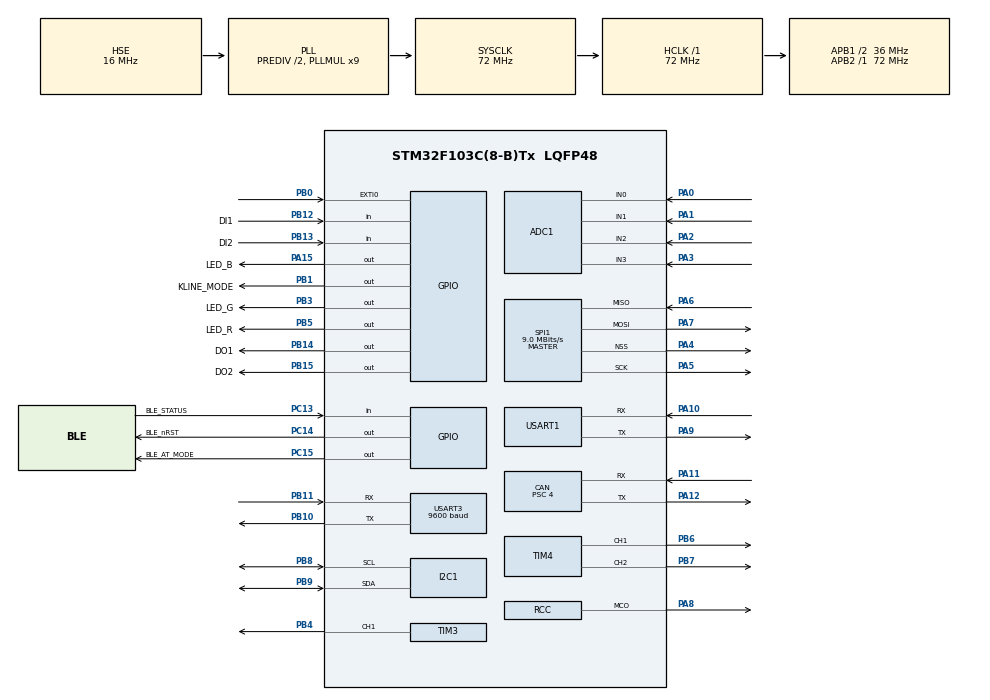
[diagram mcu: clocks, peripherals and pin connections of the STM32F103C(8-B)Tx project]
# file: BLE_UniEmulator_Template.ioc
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ADC1.Channel-0\#ChannelRegularConversion=ADC_CHANNEL_0
ADC1.NbrOfConversionFlag=1
ADC1.Rank-0\#ChannelRegularConversion=1
ADC1.SamplingTime-0\#ChannelRegularConversion=ADC_SAMPLETIME_1CYCLE_5
ADC1.master=1
CAN.BS1=CAN_BS1_15TQ
CAN.BS2=CAN_BS2_2TQ
CAN.CalculateBaudRate=500000
CAN.CalculateTimeBit=2000
CAN.CalculateTimeQuantum=111.11111111111111
CAN.NART=ENABLE
CAN.Prescaler=4
Dma.Request0=USART1_RX
Dma.Request1=USART3_RX
Dma.USART1_RX.0.Direction=DMA_PERIPH_TO_MEMORY
Dma.USART1_RX.0.Instance=DMA1_Channel5
Dma.USART1_RX.0.MemDataAlignment=DMA_MDATAALIGN_BYTE
Dma.USART1_RX.0.MemInc=DMA_MINC_ENABLE
Dma.USART1_RX.0.Mode=DMA_CIRCULAR
Dma.USART1_RX.0.PeriphDataAlignment=DMA_PDATAALIGN_BYTE
Dma.USART1_RX.0.PeriphInc=DMA_PINC_DISABLE
Dma.USART1_RX.0.Priority=DMA_PRIORITY_LOW
Dma.USART3_RX.1.Direction=DMA_PERIPH_TO_MEMORY
Dma.USART3_RX.1.Instance=DMA1_Channel3
Dma.USART3_RX.1.MemDataAlignment=DMA_MDATAALIGN_BYTE
Dma.USART3_RX.1.MemInc=DMA_MINC_ENABLE
Dma.USART3_RX.1.Mode=DMA_NORMAL
Dma.USART3_RX.1.PeriphDataAlignment=DMA_PDATAALIGN_BYTE
Dma.USART3_RX.1.PeriphInc=DMA_PINC_DISABLE
Dma.USART3_RX.1.Priority=DMA_PRIORITY_LOW
Mcu.Family=STM32F1
Mcu.Name=STM32F103C(8-B)Tx
Mcu.Package=LQFP48
NVIC.DMA1_Channel3_IRQn=true\:0\:0\:false\:false\:true\:false\:true\:true
NVIC.DMA1_Channel5_IRQn=true\:0\:0\:false\:false\:true\:false\:true\:true
NVIC.PriorityGroup=NVIC_PRIORITYGROUP_4
NVIC.USART1_IRQn=true\:0\:0\:false\:false\:true\:true\:true\:true
NVIC.USART3_IRQn=true\:0\:0\:false\:false\:true\:true\:true\:true
NVIC.USB_LP_CAN1_RX0_IRQn=true\:0\:0\:false\:false\:true\:true\:true\:true
PA0-WKUP.Signal=ADCx_IN0
PA1.Signal=ADCx_IN1
PA10.Mode=Asynchronous
PA10.Signal=USART1_RX
PA11.Mode=CAN_Activate
PA11.Signal=CAN_RX
PA12.Mode=CAN_Activate
PA12.Signal=CAN_TX
PA13.Mode=Serial_Wire
PA13.Signal=SYS_JTMS-SWDIO
PA14.Mode=Serial_Wire
PA14.Signal=SYS_JTCK-SWCLK
PA15.GPIO_Label=LED_B
PA15.Signal=GPIO_Output
PA2.Signal=ADCx_IN2
PA3.Signal=ADCx_IN3
PA4.Mode=NSS_Signal_Hard_Output
PA4.Signal=SPI1_NSS
PA5.Mode=Full_Duplex_Master
PA5.Signal=SPI1_SCK
PA6.Mode=Full_Duplex_Master
PA6.Signal=SPI1_MISO
PA7.Mode=Full_Duplex_Master
PA7.Signal=SPI1_MOSI
PA8.Mode=Clock-out
PA8.Signal=RCC_MCO
PA9.Mode=Asynchronous
PA9.Signal=USART1_TX
PB0.Signal=GPXTI0
PB1.GPIO_Label=KLINE_MODE
PB1.Signal=GPIO_Output
PB10.Mode=Asynchronous
PB10.Signal=USART3_TX
PB11.Mode=Asynchronous
PB11.Signal=USART3_RX
PB12.GPIO_Label=DI1
PB12.Signal=GPIO_Input
PB13.GPIO_Label=DI2
PB13.Signal=GPIO_Input
PB14.GPIO_Label=DO1
PB14.Signal=GPIO_Output
PB15.GPIO_Label=DO2
PB15.Signal=GPIO_Output
PB3.GPIO_Label=LED_G
PB3.Signal=GPIO_Output
PB4.Signal=S_TIM3_CH1
PB5.GPIO_Label=LED_R
PB5.Signal=GPIO_Output
PB6.Signal=S_TIM4_CH1
PB7.Signal=S_TIM4_CH2
PB8.Mode=I2C
PB8.Signal=I2C1_SCL
PB9.Mode=I2C
PB9.Signal=I2C1_SDA
PC13-TAMPER-RTC.GPIO_Label=BLE_STATUS
PC13-TAMPER-RTC.Signal=GPIO_Input
PC14-OSC32_IN.GPIO_Label=BLE_nRST
PC14-OSC32_IN.Signal=GPIO_Output
PC15-OSC32_OUT.GPIO_Label=BLE_AT_MODE
PC15-OSC32_OUT.Signal=GPIO_Output
PD0-OSC_IN.Mode=HSE-External-Oscillator
PD0-OSC_IN.Signal=RCC_OSC_IN
PD1-OSC_OUT.Mode=HSE-External-Oscillator
PD1-OSC_OUT.Signal=RCC_OSC_OUT
ProjectManager.HeapSize=0x200
ProjectManager.StackSize=0x400
ProjectManager.TargetToolchain=MDK-ARM V5.32
RCC.ADCPresc=RCC_ADCPCLK2_DIV6
RCC.AHBFreq_Value=72000000
RCC.APB1CLKDivider=RCC_HCLK_DIV2
RCC.APB1Freq_Value=36000000
RCC.APB1TimFreq_Value=72000000
RCC.APB2Freq_Value=72000000
RCC.APB2TimFreq_Value=72000000
RCC.HCLKFreq_Value=72000000
RCC.HSEDivPLL=RCC_HSE_PREDIV_DIV2
RCC.HSE_VALUE=16000000
RCC.PLLMUL=RCC_PLL_MUL9
RCC.PLLSourceVirtual=RCC_PLLSOURCE_HSE
RCC.RCC_MCOSource=RCC_MCO1SOURCE_HSE
RCC.SYSCLKFreq_VALUE=72000000
RCC.SYSCLKSource=RCC_SYSCLKSOURCE_PLLCLK
RCC.USBFreq_Value=72000000
SH.ADCx_IN0.0=ADC1_IN0,IN0
SH.ADCx_IN1.0=ADC1_IN1,IN1
SH.ADCx_IN2.0=ADC1_IN2,IN2
SH.ADCx_IN3.0=ADC1_IN3,IN3
SH.S_TIM3_CH1.0=TIM3_CH1,PWM Generation1 CH1
SH.S_TIM4_CH1.0=TIM4_CH1,PWM Generation1 CH1
SH.S_TIM4_CH2.0=TIM4_CH2,PWM Generation2 CH2
SPI1.BaudRatePrescaler=SPI_BAUDRATEPRESCALER_8
SPI1.CalculateBaudRate=9.0 MBits/s
SPI1.Direction=SPI_DIRECTION_2LINES
SPI1.Mode=SPI_MODE_MASTER
SPI1.VirtualNSS=VM_NSSHARD
SPI1.VirtualType=VM_MASTER
TIM3.Channel-PWM\ Generation1\ CH1=TIM_CHANNEL_1
TIM3.Period=500
TIM3.Prescaler=71
TIM4.Channel-PWM\ Generation1\ CH1=TIM_CHANNEL_1
TIM4.Channel-PWM\ Generation2\ CH2=TIM_CHANNEL_2
USART1.VirtualMode=VM_ASYNC
USART3.BaudRate=9600
USART3.VirtualMode=VM_ASYNC
VP_CRC_VS_CRC.Mode=CRC_Activate
VP_TIM3_VS_ClockSourceINT.Mode=Internal
VP_TIM4_VS_ClockSourceINT.Mode=Internal
board=custom

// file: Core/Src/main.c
/* USER CODE BEGIN Header */
/**
 ******************************************************************************
 * @file           : main.c
 * @brief          : Main program body
 ******************************************************************************
 * @attention
 *
 * Copyright (c) 2023 STMicroelectronics.
 * All rights reserved.
 *
 * This software is licensed under terms that can be found in the LICENSE file
 * in the root directory of this software component.
 * If no LICENSE file comes with this software, it is provided AS-IS.
 *
 ******************************************************************************
 */
/* USER CODE END Header */
#include "main.h"

/* USER CODE BEGIN Includes */
#include "EEPROM.h"
#include "License.h"
#include "SerialFIFO.h"
#include "SerialProtocol.h"
#include "SmartLED.h"
#include <string.h>
/* USER CODE END Includes */

/* USER CODE BEGIN PTD */
extern int8_t LicenseStatus;
/* USER CODE END PTD */

/* USER CODE BEGIN PM */
#define BUZZER_ON() TIM3->CCR1 = 250
#define BUZZER_OFF() TIM3->CCR1 = 0

uint8_t beepCounter = 0;
/* USER CODE END PM */

ADC_HandleTypeDef hadc1;

CAN_HandleTypeDef hcan;

CRC_HandleTypeDef hcrc;

I2C_HandleTypeDef hi2c1;

SPI_HandleTypeDef hspi1;

TIM_HandleTypeDef htim3;
TIM_HandleTypeDef htim4;

UART_HandleTypeDef huart1;
UART_HandleTypeDef huart3;
DMA_HandleTypeDef hdma_usart1_rx;
DMA_HandleTypeDef hdma_usart3_rx;

void SystemClock_Config(void);
static void MX_GPIO_Init(void);
static void MX_DMA_Init(void);
static void MX_ADC1_Init(void);
static void MX_CAN_Init(void);
static void MX_CRC_Init(void);
static void MX_I2C1_Init(void);
static void MX_SPI1_Init(void);
static void MX_TIM3_Init(void);
static void MX_TIM4_Init(void);
static void MX_USART1_UART_Init(void);
static void MX_USART3_UART_Init(void);
/* USER CODE BEGIN PFP */

void LED_Red_Callback(bool status)
{
    if (TIM3->CCR1 == 250)
    {
        BUZZER_OFF(); // Buzzer Turn off
    }
    else
    {
        if (status == true)
        {
            if (++beepCounter >= 5)
            {
                beepCounter = 0;
                BUZZER_ON(); // Buzzer Turn on
            }
        }
    }
}

void LED_Green_Callback(bool status)
{
    // Future functionality for green LED can be added here
}

void LED_Blue_Callback(bool status)
{
    // Future functionality for blue LED can be added here
}

/* USER CODE END PFP */

int main(void)
{

    /* MCU Configuration--------------------------------------------------------*/

    /* Reset of all peripherals, Initializes the Flash interface and the Systick. */
    HAL_Init();

    /* Configure the system clock */
    SystemClock_Config();

    /* Initialize all configured peripherals */
    MX_GPIO_Init();
    MX_DMA_Init();
    MX_ADC1_Init();
    MX_CAN_Init();
    MX_CRC_Init();
    MX_I2C1_Init();
    MX_SPI1_Init();
    MX_TIM3_Init();
    MX_TIM4_Init();
    MX_USART1_UART_Init();
    MX_USART3_UART_Init();
    /* USER CODE BEGIN 2 */
    HAL_TIM_PWM_Start(&htim3, TIM_CHANNEL_1);

    UART1_Init();

    if (EEPROM_Init(AT24C32) != HAL_OK)
    {
        Error_Handler(); // Handle initialization failure
    }

    SmartLED_Init(LED_R_GPIO_Port, LED_R_Pin, true, &LED_Red_Callback);
    SmartLED_Init(LED_G_GPIO_Port, LED_G_Pin, true, &LED_Green_Callback);
    SmartLED_Init(LED_B_GPIO_Port, LED_B_Pin, true, &LED_Blue_Callback);

    if (Check_License() == VALID)
    {
        UART3_Init();
        SmartLED_SetMode(LED_G, LED_MODE_BLINK_SLOW);
    }
    else
    {
        SmartLED_SetMode(LED_R, LED_MODE_BLINK_SLOW);
        beepCounter = 5;
    }

    HAL_GPIO_WritePin(BLE_nRST_GPIO_Port, BLE_nRST_Pin, GPIO_PIN_SET);
    // Set high level to wake up the Module
    HAL_GPIO_WritePin(BLE_AT_MODE_GPIO_Port, BLE_AT_MODE_Pin, GPIO_PIN_SET);

    uint32_t startTime = HAL_GetTick(); // Get the start time

    // Wait for connection or timeout
    while (HAL_GPIO_ReadPin(BLE_STATUS_GPIO_Port, BLE_STATUS_Pin) == GPIO_PIN_RESET)
    {
        if ((HAL_GetTick() - startTime) > 20000)
        {
            // Timeout occurred, reset the BLE module
            HAL_GPIO_WritePin(BLE_nRST_GPIO_Port, BLE_nRST_Pin, GPIO_PIN_RESET);
            HAL_Delay(10);
            HAL_GPIO_WritePin(BLE_nRST_GPIO_Port, BLE_nRST_Pin, GPIO_PIN_SET);

            // Reset the start time and continue to wait for connection
            startTime = HAL_GetTick();
        }
    }

    // Set low level to enable AT command (just when BLE connected)
    HAL_GPIO_WritePin(BLE_AT_MODE_GPIO_Port, BLE_AT_MODE_Pin, GPIO_PIN_RESET);

    HAL_Delay(20);

    UART1_WriteStr("AT+NAMESmart Emulator\r\n"); // Set Bluetooth device name
    HAL_Delay(100);

    UART1_WriteStr("AT+STARTEN1\r\n"); // 1 = Start Wake up
    HAL_Delay(50);

    UART1_WriteStr("AT+ADVIN0\r\n"); // 0 = 100ms
    HAL_Delay(50);

    UART1_WriteStr("AT+MTU2\r\n"); // 2 = 128 bytes

    HAL_GPIO_WritePin(BLE_nRST_GPIO_Port, BLE_nRST_Pin, GPIO_PIN_SET);
    // Set high level to wake up the Module
    HAL_GPIO_WritePin(BLE_AT_MODE_GPIO_Port, BLE_AT_MODE_Pin, GPIO_PIN_SET);

    /* USER CODE END 2 */

    /* Infinite loop */
    /* USER CODE BEGIN WHILE */
    while (1)
    {
        uint16_t len = UART1_Available();
        while (len--)
        {
            uint8_t c = UART1_Read();
            UART3_Write(c);
        }

        len = UART3_Available();
        while (len--)
        {
            uint8_t c = UART3_Read();
            UART1_Write(c);
        }

        HAL_Delay(100);
        /* USER CODE END WHILE */

    }
}

void SystemClock_Config(void)
{
    RCC_OscInitTypeDef RCC_OscInitStruct = {0};
    RCC_ClkInitTypeDef RCC_ClkInitStruct = {0};
    RCC_PeriphCLKInitTypeDef PeriphClkInit = {0};

    /** Initializes the RCC Oscillators according to the specified parameters
     * in the RCC_OscInitTypeDef structure.
     */
    RCC_OscInitStruct.OscillatorType = RCC_OSCILLATORTYPE_HSE;
    RCC_OscInitStruct.HSEState = RCC_HSE_ON;
    RCC_OscInitStruct.HSEPredivValue = RCC_HSE_PREDIV_DIV2;
    RCC_OscInitStruct.HSIState = RCC_HSI_ON;
    RCC_OscInitStruct.PLL.PLLState = RCC_PLL_ON;
    RCC_OscInitStruct.PLL.PLLSource = RCC_PLLSOURCE_HSE;
    RCC_OscInitStruct.PLL.PLLMUL = RCC_PLL_MUL9;
    if (HAL_RCC_OscConfig(&RCC_OscInitStruct) != HAL_OK)
    {
        Error_Handler();
    }

    /** Initializes the CPU, AHB and APB buses clocks
     */
    RCC_ClkInitStruct.ClockType = RCC_CLOCKTYPE_HCLK | RCC_CLOCKTYPE_SYSCLK | RCC_CLOCKTYPE_PCLK1 | RCC_CLOCKTYPE_PCLK2;
    RCC_ClkInitStruct.SYSCLKSource = RCC_SYSCLKSOURCE_PLLCLK;
    RCC_ClkInitStruct.AHBCLKDivider = RCC_SYSCLK_DIV1;
    RCC_ClkInitStruct.APB1CLKDivider = RCC_HCLK_DIV2;
    RCC_ClkInitStruct.APB2CLKDivider = RCC_HCLK_DIV1;

    if (HAL_RCC_ClockConfig(&RCC_ClkInitStruct, FLASH_LATENCY_2) != HAL_OK)
    {
        Error_Handler();
    }
    PeriphClkInit.PeriphClockSelection = RCC_PERIPHCLK_ADC;
    PeriphClkInit.AdcClockSelection = RCC_ADCPCLK2_DIV6;
    if (HAL_RCCEx_PeriphCLKConfig(&PeriphClkInit) != HAL_OK)
    {
        Error_Handler();
    }
    HAL_RCC_MCOConfig(RCC_MCO, RCC_MCO1SOURCE_HSE, RCC_MCODIV_1);
}

static void MX_ADC1_Init(void)
{

    ADC_ChannelConfTypeDef sConfig = {0};

    /** Common config
     */
    hadc1.Instance = ADC1;
    hadc1.Init.ScanConvMode = ADC_SCAN_DISABLE;
    hadc1.Init.ContinuousConvMode = DISABLE;
    hadc1.Init.DiscontinuousConvMode = DISABLE;
    hadc1.Init.ExternalTrigConv = ADC_SOFTWARE_START;
    hadc1.Init.DataAlign = ADC_DATAALIGN_RIGHT;
    hadc1.Init.NbrOfConversion = 1;
    if (HAL_ADC_Init(&hadc1) != HAL_OK)
    {
        Error_Handler();
    }

    /** Configure Regular Channel
     */
    sConfig.Channel = ADC_CHANNEL_0;
    sConfig.Rank = ADC_REGULAR_RANK_1;
    sConfig.SamplingTime = ADC_SAMPLETIME_1CYCLE_5;
    if (HAL_ADC_ConfigChannel(&hadc1, &sConfig) != HAL_OK)
    {
        Error_Handler();
    }
}

static void MX_CAN_Init(void)
{

    hcan.Instance = CAN1;
    hcan.Init.Prescaler = 4;
    hcan.Init.Mode = CAN_MODE_NORMAL;
    hcan.Init.SyncJumpWidth = CAN_SJW_1TQ;
    hcan.Init.TimeSeg1 = CAN_BS1_15TQ;
    hcan.Init.TimeSeg2 = CAN_BS2_2TQ;
    hcan.Init.TimeTriggeredMode = DISABLE;
    hcan.Init.AutoBusOff = DISABLE;
    hcan.Init.AutoWakeUp = DISABLE;
    hcan.Init.AutoRetransmission = ENABLE;
    hcan.Init.ReceiveFifoLocked = DISABLE;
    hcan.Init.TransmitFifoPriority = DISABLE;
    if (HAL_CAN_Init(&hcan) != HAL_OK)
    {
        Error_Handler();
    }
}

static void MX_CRC_Init(void)
{

    hcrc.Instance = CRC;
    if (HAL_CRC_Init(&hcrc) != HAL_OK)
    {
        Error_Handler();
    }
}

static void MX_I2C1_Init(void)
{

    hi2c1.Instance = I2C1;
    hi2c1.Init.ClockSpeed = 100000;
    hi2c1.Init.DutyCycle = I2C_DUTYCYCLE_2;
    hi2c1.Init.OwnAddress1 = 0;
    hi2c1.Init.AddressingMode = I2C_ADDRESSINGMODE_7BIT;
    hi2c1.Init.DualAddressMode = I2C_DUALADDRESS_DISABLE;
    hi2c1.Init.OwnAddress2 = 0;
    hi2c1.Init.GeneralCallMode = I2C_GENERALCALL_DISABLE;
    hi2c1.Init.NoStretchMode = I2C_NOSTRETCH_DISABLE;
    if (HAL_I2C_Init(&hi2c1) != HAL_OK)
    {
        Error_Handler();
    }
}

static void MX_SPI1_Init(void)
{

    /* SPI1 parameter configuration*/
    hspi1.Instance = SPI1;
    hspi1.Init.Mode = SPI_MODE_MASTER;
    hspi1.Init.Direction = SPI_DIRECTION_2LINES;
    hspi1.Init.DataSize = SPI_DATASIZE_8BIT;
    hspi1.Init.CLKPolarity = SPI_POLARITY_LOW;
    hspi1.Init.CLKPhase = SPI_PHASE_1EDGE;
    hspi1.Init.NSS = SPI_NSS_HARD_OUTPUT;
    hspi1.Init.BaudRatePrescaler = SPI_BAUDRATEPRESCALER_8;
    hspi1.Init.FirstBit = SPI_FIRSTBIT_MSB;
    hspi1.Init.TIMode = SPI_TIMODE_DISABLE;
    hspi1.Init.CRCCalculation = SPI_CRCCALCULATION_DISABLE;
    hspi1.Init.CRCPolynomial = 10;
    if (HAL_SPI_Init(&hspi1) != HAL_OK)
    {
        Error_Handler();
    }
}

static void MX_TIM3_Init(void)
{

    TIM_ClockConfigTypeDef sClockSourceConfig = {0};
    TIM_MasterConfigTypeDef sMasterConfig = {0};
    TIM_OC_InitTypeDef sConfigOC = {0};

    htim3.Instance = TIM3;
    htim3.Init.Prescaler = 71;
    htim3.Init.CounterMode = TIM_COUNTERMODE_UP;
    htim3.Init.Period = 500;
    htim3.Init.ClockDivision = TIM_CLOCKDIVISION_DIV1;
    htim3.Init.AutoReloadPreload = TIM_AUTORELOAD_PRELOAD_DISABLE;
    if (HAL_TIM_Base_Init(&htim3) != HAL_OK)
    {
        Error_Handler();
    }
    sClockSourceConfig.ClockSource = TIM_CLOCKSOURCE_INTERNAL;
    if (HAL_TIM_ConfigClockSource(&htim3, &sClockSourceConfig) != HAL_OK)
    {
        Error_Handler();
    }
    if (HAL_TIM_PWM_Init(&htim3) != HAL_OK)
    {
        Error_Handler();
    }
    sMasterConfig.MasterOutputTrigger = TIM_TRGO_RESET;
    sMasterConfig.MasterSlaveMode = TIM_MASTERSLAVEMODE_DISABLE;
    if (HAL_TIMEx_MasterConfigSynchronization(&htim3, &sMasterConfig) != HAL_OK)
    {
        Error_Handler();
    }
    sConfigOC.OCMode = TIM_OCMODE_PWM1;
    sConfigOC.Pulse = 0;
    sConfigOC.OCPolarity = TIM_OCPOLARITY_HIGH;
    sConfigOC.OCFastMode = TIM_OCFAST_DISABLE;
    if (HAL_TIM_PWM_ConfigChannel(&htim3, &sConfigOC, TIM_CHANNEL_1) != HAL_OK)
    {
        Error_Handler();
    }
    HAL_TIM_MspPostInit(&htim3);
}

static void MX_TIM4_Init(void)
{

    TIM_ClockConfigTypeDef sClockSourceConfig = {0};
    TIM_MasterConfigTypeDef sMasterConfig = {0};
    TIM_OC_InitTypeDef sConfigOC = {0};

    htim4.Instance = TIM4;
    htim4.Init.Prescaler = 0;
    htim4.Init.CounterMode = TIM_COUNTERMODE_UP;
    htim4.Init.Period = 65535;
    htim4.Init.ClockDivision = TIM_CLOCKDIVISION_DIV1;
    htim4.Init.AutoReloadPreload = TIM_AUTORELOAD_PRELOAD_DISABLE;
    if (HAL_TIM_Base_Init(&htim4) != HAL_OK)
    {
        Error_Handler();
    }
    sClockSourceConfig.ClockSource = TIM_CLOCKSOURCE_INTERNAL;
    if (HAL_TIM_ConfigClockSource(&htim4, &sClockSourceConfig) != HAL_OK)
    {
        Error_Handler();
    }
    if (HAL_TIM_PWM_Init(&htim4) != HAL_OK)
    {
        Error_Handler();
    }
    sMasterConfig.MasterOutputTrigger = TIM_TRGO_RESET;
    sMasterConfig.MasterSlaveMode = TIM_MASTERSLAVEMODE_DISABLE;
    if (HAL_TIMEx_MasterConfigSynchronization(&htim4, &sMasterConfig) != HAL_OK)
    {
        Error_Handler();
    }
    sConfigOC.OCMode = TIM_OCMODE_PWM1;
    sConfigOC.Pulse = 0;
    sConfigOC.OCPolarity = TIM_OCPOLARITY_HIGH;
    sConfigOC.OCFastMode = TIM_OCFAST_DISABLE;
    if (HAL_TIM_PWM_ConfigChannel(&htim4, &sConfigOC, TIM_CHANNEL_1) != HAL_OK)
    {
        Error_Handler();
    }
    if (HAL_TIM_PWM_ConfigChannel(&htim4, &sConfigOC, TIM_CHANNEL_2) != HAL_OK)
    {
        Error_Handler();
    }
    HAL_TIM_MspPostInit(&htim4);
}

static void MX_USART1_UART_Init(void)
{

    huart1.Instance = USART1;
    huart1.Init.BaudRate = 115200;
    huart1.Init.WordLength = UART_WORDLENGTH_8B;
    huart1.Init.StopBits = UART_STOPBITS_1;
    huart1.Init.Parity = UART_PARITY_NONE;
    huart1.Init.Mode = UART_MODE_TX_RX;
    huart1.Init.HwFlowCtl = UART_HWCONTROL_NONE;
    huart1.Init.OverSampling = UART_OVERSAMPLING_16;
    if (HAL_UART_Init(&huart1) != HAL_OK)
    {
        Error_Handler();
    }
    /* USER CODE BEGIN USART1_Init 2 */
    SET_BIT(USART1->CR1, USART_CR1_IDLEIE);
    /* USER CODE END USART1_Init 2 */
}

static void MX_USART3_UART_Init(void)
{

    huart3.Instance = USART3;
    huart3.Init.BaudRate = 9600;
    huart3.Init.WordLength = UART_WORDLENGTH_8B;
    huart3.Init.StopBits = UART_STOPBITS_1;
    huart3.Init.Parity = UART_PARITY_EVEN;
    huart3.Init.Mode = UART_MODE_TX_RX;
    huart3.Init.HwFlowCtl = UART_HWCONTROL_NONE;
    huart3.Init.OverSampling = UART_OVERSAMPLING_16;
    if (HAL_UART_Init(&huart3) != HAL_OK)
    {
        Error_Handler();
    }
    /* USER CODE BEGIN USART3_Init 2 */
    SET_BIT(USART3->CR1, USART_CR1_IDLEIE);
    /* USER CODE END USART3_Init 2 */
}

static void MX_DMA_Init(void)
{

    /* DMA controller clock enable */
    __HAL_RCC_DMA1_CLK_ENABLE();

    /* DMA interrupt init */
    /* DMA1_Channel3_IRQn interrupt configuration */
    HAL_NVIC_SetPriority(DMA1_Channel3_IRQn, 0, 0);
    HAL_NVIC_EnableIRQ(DMA1_Channel3_IRQn);
    /* DMA1_Channel5_IRQn interrupt configuration */
    HAL_NVIC_SetPriority(DMA1_Channel5_IRQn, 0, 0);
    HAL_NVIC_EnableIRQ(DMA1_Channel5_IRQn);
}

static void MX_GPIO_Init(void)
{
    GPIO_InitTypeDef GPIO_InitStruct = {0};

    /* GPIO Ports Clock Enable */
    __HAL_RCC_GPIOC_CLK_ENABLE();
    __HAL_RCC_GPIOD_CLK_ENABLE();
    __HAL_RCC_GPIOA_CLK_ENABLE();
    __HAL_RCC_GPIOB_CLK_ENABLE();

    /*Configure GPIO pin Output Level */
    HAL_GPIO_WritePin(GPIOC, BLE_nRST_Pin | BLE_AT_MODE_Pin, GPIO_PIN_RESET);

    /*Configure GPIO pin Output Level */
    HAL_GPIO_WritePin(GPIOB, KLINE_MODE_Pin | DO1_Pin | DO2_Pin | LED_G_Pin | LED_R_Pin, GPIO_PIN_RESET);

    /*Configure GPIO pin Output Level */
    HAL_GPIO_WritePin(LED_B_GPIO_Port, LED_B_Pin, GPIO_PIN_RESET);

    /*Configure GPIO pin : BLE_STATUS_Pin */
    GPIO_InitStruct.Pin = BLE_STATUS_Pin;
    GPIO_InitStruct.Mode = GPIO_MODE_INPUT;
    GPIO_InitStruct.Pull = GPIO_NOPULL;
    HAL_GPIO_Init(BLE_STATUS_GPIO_Port, &GPIO_InitStruct);

    /*Configure GPIO pins : BLE_nRST_Pin BLE_AT_MODE_Pin */
    GPIO_InitStruct.Pin = BLE_nRST_Pin | BLE_AT_MODE_Pin;
    GPIO_InitStruct.Mode = GPIO_MODE_OUTPUT_PP;
    GPIO_InitStruct.Pull = GPIO_NOPULL;
    GPIO_InitStruct.Speed = GPIO_SPEED_FREQ_LOW;
    HAL_GPIO_Init(GPIOC, &GPIO_InitStruct);

    /*Configure GPIO pin : PB0 */
    GPIO_InitStruct.Pin = GPIO_PIN_0;
    GPIO_InitStruct.Mode = GPIO_MODE_IT_RISING;
    GPIO_InitStruct.Pull = GPIO_NOPULL;
    HAL_GPIO_Init(GPIOB, &GPIO_InitStruct);

    /*Configure GPIO pins : KLINE_MODE_Pin DO1_Pin DO2_Pin LED_G_Pin
                             LED_R_Pin */
    GPIO_InitStruct.Pin = KLINE_MODE_Pin | DO1_Pin | DO2_Pin | LED_G_Pin | LED_R_Pin;
    GPIO_InitStruct.Mode = GPIO_MODE_OUTPUT_PP;
    GPIO_InitStruct.Pull = GPIO_NOPULL;
    GPIO_InitStruct.Speed = GPIO_SPEED_FREQ_LOW;
    HAL_GPIO_Init(GPIOB, &GPIO_InitStruct);

    /*Configure GPIO pins : DI1_Pin DI2_Pin */
    GPIO_InitStruct.Pin = DI1_Pin | DI2_Pin;
    GPIO_InitStruct.Mode = GPIO_MODE_INPUT;
    GPIO_InitStruct.Pull = GPIO_NOPULL;
    HAL_GPIO_Init(GPIOB, &GPIO_InitStruct);

    /*Configure GPIO pin : PA8 */
    GPIO_InitStruct.Pin = GPIO_PIN_8;
    GPIO_InitStruct.Mode = GPIO_MODE_AF_PP;
    GPIO_InitStruct.Speed = GPIO_SPEED_FREQ_LOW;
    HAL_GPIO_Init(GPIOA, &GPIO_InitStruct);

    /*Configure GPIO pin : LED_B_Pin */
    GPIO_InitStruct.Pin = LED_B_Pin;
    GPIO_InitStruct.Mode = GPIO_MODE_OUTPUT_PP;
    GPIO_InitStruct.Pull = GPIO_NOPULL;
    GPIO_InitStruct.Speed = GPIO_SPEED_FREQ_LOW;
    HAL_GPIO_Init(LED_B_GPIO_Port, &GPIO_InitStruct);

}

/* USER CODE BEGIN 4 */
void deinitEverything(void)
{
    //-- reset peripherals to guarantee flawless start of user application
    HAL_GPIO_DeInit(LED_R_GPIO_Port, LED_R_Pin);
    HAL_GPIO_DeInit(LED_G_GPIO_Port, LED_G_Pin);
    HAL_GPIO_DeInit(LED_B_GPIO_Port, LED_B_Pin);
    HAL_ADC_MspDeInit(&hadc1);
    HAL_CAN_MspDeInit(&hcan);
    HAL_CRC_MspDeInit(&hcrc);
    HAL_I2C_MspDeInit(&hi2c1);
    HAL_SPI_MspDeInit(&hspi1);
    HAL_TIM_MspPostInit(&htim3);
    HAL_TIM_MspPostInit(&htim4);
    HAL_UART_MspDeInit(&huart1);
    HAL_UART_MspDeInit(&huart3);

    HAL_NVIC_DisableIRQ(DMA1_Channel3_IRQn);
    HAL_NVIC_DisableIRQ(DMA1_Channel5_IRQn);

    __HAL_RCC_GPIOC_CLK_DISABLE();
    __HAL_RCC_GPIOD_CLK_DISABLE();
    __HAL_RCC_GPIOB_CLK_DISABLE();
    __HAL_RCC_GPIOA_CLK_DISABLE();
    HAL_RCC_DeInit();
    HAL_DeInit();
    SysTick->CTRL = 0;
    SysTick->LOAD = 0;
    SysTick->VAL = 0;
}
/* USER CODE END 4 */

/**
 * @brief Function called in case of error
 * @details This function:
 *          1. Disables interrupts
 *          2. Sets red LED to fast blink mode
 *          3. Activates buzzer
 *          4. Enters infinite loop
 * @retval None
 */
void Error_Handler(void)
{
    /* USER CODE BEGIN Error_Handler_Debug */
    __disable_irq(); // Disable interrupts

    // Set red LED to fast blink mode
    SmartLED_SetMode(LED_R, LED_MODE_BLINK_FAST);

    // Activate buzzer
    BUZZER_ON();

    while (1)
    {
        // Reset watchdog (if used)
        // HAL_IWDG_Refresh(&hiwdg);
    }
    /* USER CODE END Error_Handler_Debug */
}
